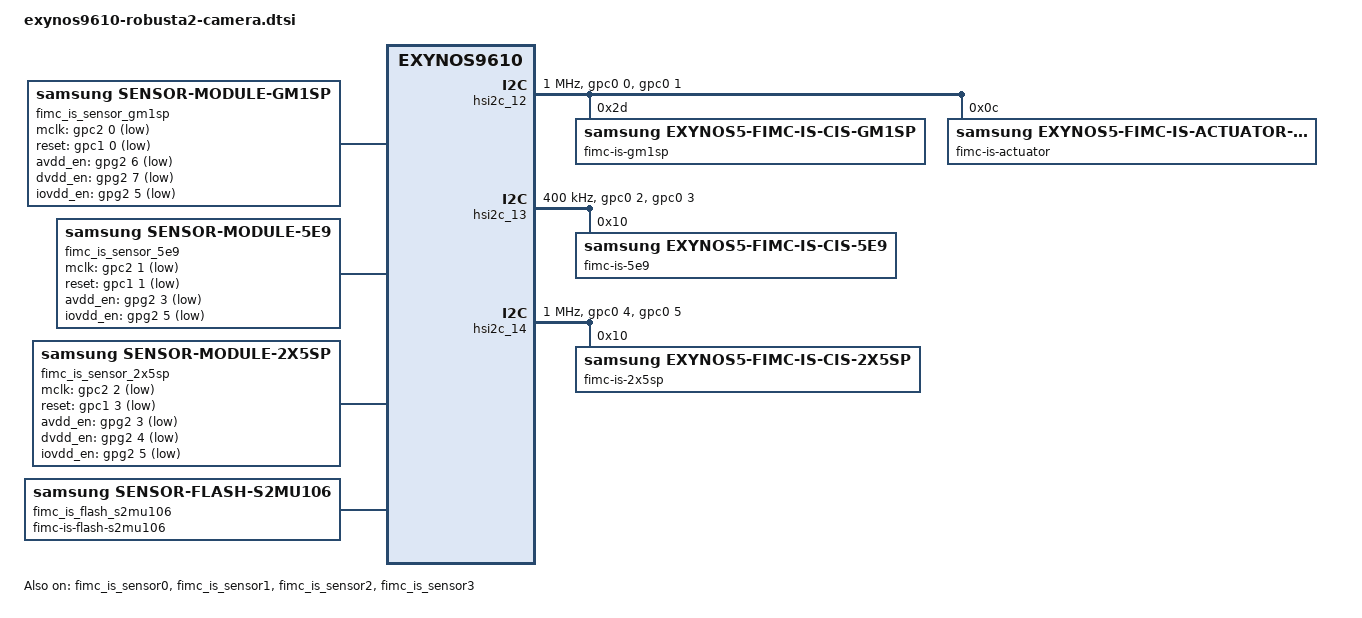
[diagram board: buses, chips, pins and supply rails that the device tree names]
/*
 * SAMSUNG EXYNOS9610 board camera device tree source
 *
 * Copyright (c) 2018 Samsung Electronics Co., Ltd.
 *		http://www.samsung.com
 *
 * This program is free software; you can redistribute it and/or modify
 * it under the terms of the GNU General Public License version 2 as
 * published by the Free Software Foundation.
 */

#include <dt-bindings/camera/fimc_is.h>

/ {
	fragment@camera {
		target-path = "/";
		__overlay__ {
			/* Rear Master */
			fimc_is_sensor_gm1sp: fimc-is_sensor_gm1sp@43 {
				compatible = "samsung,sensor-module-gm1sp";

				pinctrl-names = "pin0", "pin1", "pin2", "release";
				pinctrl-0 = <>;
				pinctrl-1 = <&fimc_is_mclk0_out>;
				pinctrl-2 = <&fimc_is_mclk0_fn>;
				pinctrl-3 = <>;

				position = <0>;	/* Rear:0. Front:1. Rear_sub:2. Secure:3. */
				id = <0>; /* fimc_is_sensor id */
				mclk_ch = <0>;
				sensor_i2c_ch = <0>; /* SENSOR_CONTROL_I2C0 */

				gpio_mclk = <&gpc2 0 0x1>;
				gpio_reset = <&gpc1 0 0x1>; /* sensor reset */

				gpio_avdd_en = <&gpg2 6 0x1>; /* RCAM_MAIN_AVDD_EN */
				gpio_dvdd_en = <&gpg2 7 0x1>; /* RCAM_DVDD_EN */
				gpio_iovdd_en = <&gpg2 5 0x1>; /* CAM_IOVDD_EN */

				status = "okay";

				af {
					product_name = <18>; /* ACTUATOR_NAME_AK737X */
					i2c_ch = <0>; /* SENSOR_CONTROL_I2C0 */
				};

				flash {
					product_name = <14>; /* FLADRV_NAME_S2MU106 */
				};

				ois {
					product_name = <100>; /* NOTHING */
				};

				internal_vc {
					/* DUMMY */
				};
			};

			/* Rear slave */
			fimc_is_sensor_5e9: fimc-is_sensor_5e9@41 {
				compatible = "samsung,sensor-module-5e9";

				pinctrl-names = "pin0", "pin1", "pin2", "release";
				pinctrl-0 = <>;
				pinctrl-1 = <&fimc_is_mclk1_out>;
				pinctrl-2 = <&fimc_is_mclk1_fn>;
				pinctrl-3 = <>;

				position = <2>;	/* Rear:0. Front:1. Rear_sub:2. Secure:3. */
				id = <2>; /* fimc_is_sensor id */
				mclk_ch = <1>;
				sensor_i2c_ch = <1>; /* SENSOR_CONTROL_I2C1 */

				gpio_mclk = <&gpc2 1 0x1>;
				gpio_reset = <&gpc1 1 0x1>; /* sensor reset */

				gpio_avdd_en = <&gpg2 3 0x1>; /* FCAM_AVDD_EN */
				gpio_iovdd_en = <&gpg2 5 0x1>; /* CAM_IOVDD_EN */

				power_seq_idx = <1>; /* power on/off sequence index */
				status = "okay";

				af {
					product_name = <100>; /* NOTHING */
				};

				flash {
					product_name = <100>; /* NOTHING */
				};

				ois {
					product_name = <100>; /* NOTHING */
				};

				internal_vc {
					/* DUMMY */
				};
			};

			/* Front */
			fimc_is_sensor_2x5sp: fimc-is_sensor_2x5sp@42 {
				compatible = "samsung,sensor-module-2x5sp";

				pinctrl-names = "pin0", "pin1", "pin2", "release";
				pinctrl-0 = <>;
				pinctrl-1 = <&fimc_is_mclk2_out>;
				pinctrl-2 = <&fimc_is_mclk2_fn>;
				pinctrl-3 = <>;

				position = <1>;	/* Rear:0. Front:1. Rear_sub:2. Secure:3. */
				id = <1>; /* fimc_is_sensor id */
				mclk_ch = <2>;
				sensor_i2c_ch = <2>; /* SENSOR_CONTROL_I2C2 */

				gpio_mclk = <&gpc2 2 0x1>;
				gpio_reset = <&gpc1 3 0x1>; /* sensor reset */

				gpio_avdd_en = <&gpg2 3 0x1>; /* FCAM_AVDD_EN */
				gpio_dvdd_en = <&gpg2 4 0x1>; /* FCAM_DVDD_EN */
				gpio_iovdd_en = <&gpg2 5 0x1>; /* CAM_IOVDD_EN */

				status = "okay";

				af {
					product_name = <100>; /* NOTHING */
				};

				flash {
					product_name = <100>; /* NOTHING */
				};

				ois {
					product_name = <100>; /* NOTHING */
				};

				internal_vc {
					/* DUMMY */
				};
			};

			fimc_is_flash_s2mu106: fimc-is-flash-s2mu106@14 {
				compatible = "samsung,sensor-flash-s2mu106";
				id = <0>;
				led_ch = <1 2>; /* CH1 ~ CH4, CH0 not exist */
				status = "okay";
			};

		}; /* end of __overlay__ */
	}; /* end of fragment */
}; /* end of root */

/***** reference symbol node *****/

&fimc_is {
	vender {
		rear_sensor_id = <43>; /* 43: GM1SP */
		front_sensor_id = <42>; /* 42: 2X5SP */
		rear2_sensor_id = <41>; /* 41: 5E9  */
	};

	fimc_is_dvfs {
		#define DVFS_INT_CAM_L0 690000
		#define DVFS_INT_CAM_L1 680000
		#define DVFS_INT_CAM_L2 670000
		#define DVFS_INT_CAM_L3 660000
		#define DVFS_INT_CAM_L4 650000

		#define DVFS_INT_L0 667000
		#define DVFS_INT_L1 533000
		#define DVFS_INT_L2 400000
		#define DVFS_INT_L3 200000
		#define DVFS_INT_L4 100000

		#define DVFS_CAM_L0 690000
		#define DVFS_CAM_L1 680000
		#define DVFS_CAM_L2 670000
		#define DVFS_CAM_L3 660000
		#define DVFS_CAM_L4 650000
		#define DVFS_CAM_L5 640000

		#define DVFS_MIF_L0 2093000
		#define DVFS_MIF_L1 2002000
		#define DVFS_MIF_L2 1794000
		#define DVFS_MIF_L3 1539000
		#define DVFS_MIF_L4 1352000
		#define DVFS_MIF_L5 1014000
		#define DVFS_MIF_L6 845000
		#define DVFS_MIF_L7 676000
		#define DVFS_MIF_L8 546000
		#define DVFS_MIF_L9 419000

		table0 {
			desc = "dvfs table v0.0 for 16M/2M";

			default_int_cam = <DVFS_INT_CAM_L0>;
			default_cam = <DVFS_CAM_L0>;
			default_mif = <DVFS_MIF_L0>;
			default_int = <DVFS_INT_L0>;
			default_hpg = <1>;

			front_preview_int_cam = <DVFS_INT_CAM_L0>;
			front_preview_cam = <DVFS_CAM_L0>;
			front_preview_mif = <DVFS_MIF_L0>;
			front_preview_int = <DVFS_INT_L0>;
			front_preview_hpg = <1>;

			front_preview_full_int_cam = <DVFS_INT_CAM_L0>;
			front_preview_full_cam = <DVFS_CAM_L0>;
			front_preview_full_mif = <DVFS_MIF_L0>;
			front_preview_full_int = <DVFS_INT_L0>;
			front_preview_full_hpg = <1>;

			front_capture_int_cam = <DVFS_INT_CAM_L0>;
			front_capture_cam = <DVFS_CAM_L0>;
			front_capture_mif = <DVFS_MIF_L0>;
			front_capture_int = <DVFS_INT_L0>;
			front_capture_hpg = <1>;

			front_video_int_cam = <DVFS_INT_CAM_L0>;
			front_video_cam = <DVFS_CAM_L0>;
			front_video_mif = <DVFS_MIF_L0>;
			front_video_int = <DVFS_INT_L0>;
			front_video_hpg = <1>;

			front_video_capture_int_cam = <DVFS_INT_CAM_L0>;
			front_video_capture_cam = <DVFS_CAM_L0>;
			front_video_capture_mif = <DVFS_MIF_L0>;
			front_video_capture_int = <DVFS_INT_L0>;
			front_video_capture_hpg = <1>;

			front_wide_selfie_int_cam = <DVFS_INT_CAM_L0>;
			front_wide_selfie_cam = <DVFS_CAM_L0>;
			front_wide_selfie_mif = <DVFS_MIF_L0>;
			front_wide_selfie_int = <DVFS_INT_L0>;
			front_wide_selfie_hpg = <1>;

			front_vt1_int_cam = <DVFS_INT_CAM_L0>;
			front_vt1_cam = <DVFS_CAM_L0>;
			front_vt1_mif = <DVFS_MIF_L0>;
			front_vt1_int = <DVFS_INT_L0>;
			front_vt1_hpg = <1>;

			front_vt2_int_cam = <DVFS_INT_CAM_L0>;
			front_vt2_cam = <DVFS_CAM_L0>;
			front_vt2_mif = <DVFS_MIF_L0>;
			front_vt2_int = <DVFS_INT_L0>;
			front_vt2_hpg = <1>;

			front_vt4_int_cam = <DVFS_INT_CAM_L0>;
			front_vt4_cam = <DVFS_CAM_L0>;
			front_vt4_mif = <DVFS_MIF_L0>;
			front_vt4_int = <DVFS_INT_L0>;
			front_vt4_hpg = <1>;

			rear2_preview_fhd_int_cam = <DVFS_INT_CAM_L0>;
			rear2_preview_fhd_cam = <DVFS_CAM_L0>;
			rear2_preview_fhd_mif = <DVFS_MIF_L0>;
			rear2_preview_fhd_int = <DVFS_INT_L0>;
			rear2_preview_fhd_hpg = <1>;

			rear2_capture_int_cam = <DVFS_INT_CAM_L0>;
			rear2_capture_cam = <DVFS_CAM_L0>;
			rear2_capture_mif = <DVFS_MIF_L0>;
			rear2_capture_int = <DVFS_INT_L0>;
			rear2_capture_hpg = <1>;

			rear2_video_fhd_int_cam = <DVFS_INT_CAM_L0>;
			rear2_video_fhd_cam = <DVFS_CAM_L0>;
			rear2_video_fhd_mif = <DVFS_MIF_L0>;
			rear2_video_fhd_int = <DVFS_INT_L0>;
			rear2_video_fhd_hpg = <1>;

			rear2_video_fhd_capture_int_cam = <DVFS_INT_CAM_L0>;
			rear2_video_fhd_capture_cam = <DVFS_CAM_L0>;
			rear2_video_fhd_capture_mif = <DVFS_MIF_L0>;
			rear2_video_fhd_capture_int = <DVFS_INT_L0>;
			rear2_video_fhd_capture_hpg = <1>;

			rear_preview_fhd_int_cam = <DVFS_INT_CAM_L0>;
			rear_preview_fhd_cam = <DVFS_CAM_L0>;
			rear_preview_fhd_mif = <DVFS_MIF_L0>;
			rear_preview_fhd_int = <DVFS_INT_L0>;
			rear_preview_fhd_hpg = <1>;

			rear_preview_hd_int_cam = <DVFS_INT_CAM_L0>;
			rear_preview_hd_cam = <DVFS_CAM_L0>;
			rear_preview_hd_mif = <DVFS_MIF_L0>;
			rear_preview_hd_int = <DVFS_INT_L0>;
			rear_preview_hd_hpg = <1>;

			rear_preview_uhd_int_cam = <DVFS_INT_CAM_L0>;
			rear_preview_uhd_cam = <DVFS_CAM_L0>;
			rear_preview_uhd_mif = <DVFS_MIF_L0>;
			rear_preview_uhd_int = <DVFS_INT_L0>;
			rear_preview_uhd_hpg = <1>;

			rear_preview_full_int_cam = <DVFS_INT_CAM_L0>;
			rear_preview_full_cam = <DVFS_CAM_L0>;
			rear_preview_full_mif = <DVFS_MIF_L0>;
			rear_preview_full_int = <DVFS_INT_L0>;
			rear_preview_full_hpg = <1>;

			rear_capture_int_cam = <DVFS_INT_CAM_L0>;
			rear_capture_cam = <DVFS_CAM_L0>;
			rear_capture_mif = <DVFS_MIF_L0>;
			rear_capture_int = <DVFS_INT_L0>;
			rear_capture_hpg = <1>;

			rear_video_fhd_int_cam = <DVFS_INT_CAM_L0>;
			rear_video_fhd_cam = <DVFS_CAM_L0>;
			rear_video_fhd_mif = <DVFS_MIF_L0>;
			rear_video_fhd_int = <DVFS_INT_L0>;
			rear_video_fhd_hpg = <1>;

			rear_video_hd_int_cam = <DVFS_INT_CAM_L0>;
			rear_video_hd_cam = <DVFS_CAM_L0>;
			rear_video_hd_mif = <DVFS_MIF_L0>;
			rear_video_hd_int = <DVFS_INT_L0>;
			rear_video_hd_hpg = <1>;

			rear_video_uhd_int_cam = <DVFS_INT_CAM_L0>;
			rear_video_uhd_cam = <DVFS_CAM_L0>;
			rear_video_uhd_mif = <DVFS_MIF_L0>;
			rear_video_uhd_int = <DVFS_INT_L0>;
			rear_video_uhd_hpg = <1>;

			rear_video_fhd_capture_int_cam = <DVFS_INT_CAM_L0>;
			rear_video_fhd_capture_cam = <DVFS_CAM_L0>;
			rear_video_fhd_capture_mif = <DVFS_MIF_L0>;
			rear_video_fhd_capture_int = <DVFS_INT_L0>;
			rear_video_fhd_capture_hpg = <1>;

			rear_video_hd_capture_int_cam = <DVFS_INT_CAM_L0>;
			rear_video_hd_capture_cam = <DVFS_CAM_L0>;
			rear_video_hd_capture_mif = <DVFS_MIF_L0>;
			rear_video_hd_capture_int = <DVFS_INT_L0>;
			rear_video_hd_capture_hpg = <1>;

			rear_video_uhd_capture_int_cam = <DVFS_INT_CAM_L0>;
			rear_video_uhd_capture_cam = <DVFS_CAM_L0>;
			rear_video_uhd_capture_mif = <DVFS_MIF_L0>;
			rear_video_uhd_capture_int = <DVFS_INT_L0>;
			rear_video_uhd_capture_hpg = <1>;

			dual_preview_int_cam = <DVFS_INT_CAM_L0>;
			dual_preview_cam = <DVFS_CAM_L0>;
			dual_preview_mif = <DVFS_MIF_L0>;
			dual_preview_int = <DVFS_INT_L0>;
			dual_preview_hpg = <1>;

			dual_capture_int_cam = <DVFS_INT_CAM_L0>;
			dual_capture_cam = <DVFS_CAM_L0>;
			dual_capture_mif = <DVFS_MIF_L0>;
			dual_capture_int = <DVFS_INT_L0>;
			dual_capture_hpg = <1>;

			dual_video_fhd_int_cam = <DVFS_INT_CAM_L0>;
			dual_video_fhd_cam = <DVFS_CAM_L0>;
			dual_video_fhd_mif = <DVFS_MIF_L0>;
			dual_video_fhd_int = <DVFS_INT_L0>;
			dual_video_fhd_hpg = <1>;

			dual_video_fhd_capture_int_cam = <DVFS_INT_CAM_L0>;
			dual_video_fhd_capture_cam = <DVFS_CAM_L0>;
			dual_video_fhd_capture_mif = <DVFS_MIF_L0>;
			dual_video_fhd_capture_int = <DVFS_INT_L0>;
			dual_video_fhd_capture_hpg = <1>;

			dual_video_uhd_int_cam = <DVFS_INT_CAM_L0>;
			dual_video_uhd_cam = <DVFS_CAM_L0>;
			dual_video_uhd_mif = <DVFS_MIF_L0>;
			dual_video_uhd_int = <DVFS_INT_L0>;
			dual_video_uhd_hpg = <1>;

			dual_video_uhd_capture_int_cam = <DVFS_INT_CAM_L0>;
			dual_video_uhd_capture_cam = <DVFS_CAM_L0>;
			dual_video_uhd_capture_mif = <DVFS_MIF_L0>;
			dual_video_uhd_capture_int = <DVFS_INT_L0>;
			dual_video_uhd_capture_hpg = <1>;

			dual_sync_preview_int_cam = <DVFS_INT_CAM_L0>;
			dual_sync_preview_cam = <DVFS_CAM_L0>;
			dual_sync_preview_mif = <DVFS_MIF_L0>;
			dual_sync_preview_int = <DVFS_INT_L0>;
			dual_sync_preview_hpg = <1>;

			dual_sync_capture_int_cam = <DVFS_INT_CAM_L0>;
			dual_sync_capture_cam = <DVFS_CAM_L0>;
			dual_sync_capture_mif = <DVFS_MIF_L0>;
			dual_sync_capture_int = <DVFS_INT_L0>;
			dual_sync_capture_hpg = <1>;

			dual_sync_preview_whd_int_cam = <DVFS_INT_CAM_L0>;
			dual_sync_preview_whd_cam = <DVFS_CAM_L0>;
			dual_sync_preview_whd_mif = <DVFS_MIF_L0>;
			dual_sync_preview_whd_int = <DVFS_INT_L0>;
			dual_sync_preview_whd_hpg = <1>;

			dual_sync_whd_capture_int_cam = <DVFS_INT_CAM_L0>;
			dual_sync_whd_capture_cam = <DVFS_CAM_L0>;
			dual_sync_whd_capture_mif = <DVFS_MIF_L0>;
			dual_sync_whd_capture_int = <DVFS_INT_L0>;
			dual_sync_whd_capture_hpg = <1>;

			dual_sync_video_fhd_int_cam = <DVFS_INT_CAM_L0>;
			dual_sync_video_fhd_cam = <DVFS_CAM_L0>;
			dual_sync_video_fhd_mif = <DVFS_MIF_L0>;
			dual_sync_video_fhd_int = <DVFS_INT_L0>;
			dual_sync_video_fhd_hpg = <1>;

			dual_sync_video_fhd_capture_int_cam = <DVFS_INT_CAM_L0>;
			dual_sync_video_fhd_capture_cam = <DVFS_CAM_L0>;
			dual_sync_video_fhd_capture_mif = <DVFS_MIF_L0>;
			dual_sync_video_fhd_capture_int = <DVFS_INT_L0>;
			dual_sync_video_fhd_capture_hpg = <1>;

			dual_sync_video_uhd_int_cam = <DVFS_INT_CAM_L0>;
			dual_sync_video_uhd_cam = <DVFS_CAM_L0>;
			dual_sync_video_uhd_mif = <DVFS_MIF_L0>;
			dual_sync_video_uhd_int = <DVFS_INT_L0>;
			dual_sync_video_uhd_hpg = <1>;

			dual_sync_video_uhd_capture_int_cam = <DVFS_INT_CAM_L0>;
			dual_sync_video_uhd_capture_cam = <DVFS_CAM_L0>;
			dual_sync_video_uhd_capture_mif = <DVFS_MIF_L0>;
			dual_sync_video_uhd_capture_int = <DVFS_INT_L0>;
			dual_sync_video_uhd_capture_hpg = <1>;

			pip_preview_int_cam = <DVFS_INT_CAM_L0>;
			pip_preview_cam = <DVFS_CAM_L0>;
			pip_preview_mif = <DVFS_MIF_L0>;
			pip_preview_int = <DVFS_INT_L0>;
			pip_preview_hpg = <1>;

			pip_capture_int_cam = <DVFS_INT_CAM_L0>;
			pip_capture_cam = <DVFS_CAM_L0>;
			pip_capture_mif = <DVFS_MIF_L0>;
			pip_capture_int = <DVFS_INT_L0>;
			pip_capture_hpg = <1>;

			secure_front_int_cam = <DVFS_INT_CAM_L0>;
			secure_front_cam = <DVFS_CAM_L0>;
			secure_front_mif = <DVFS_MIF_L0>;
			secure_front_int = <DVFS_INT_L0>;
			secure_front_hpg = <1>;

			preview_high_speed_fps_int_cam = <DVFS_INT_CAM_L0>;
			preview_high_speed_fps_cam = <DVFS_CAM_L0>;
			preview_high_speed_fps_mif = <DVFS_MIF_L0>;
			preview_high_speed_fps_int = <DVFS_INT_L0>;
			preview_high_speed_fps_hpg = <1>;

			video_high_speed_60fps_int_cam = <DVFS_INT_CAM_L0>;
			video_high_speed_60fps_cam = <DVFS_CAM_L0>;
			video_high_speed_60fps_mif = <DVFS_MIF_L0>;
			video_high_speed_60fps_int = <DVFS_INT_L0>;
			video_high_speed_60fps_hpg = <1>;

			video_high_speed_120fps_int_cam = <DVFS_INT_CAM_L0>;
			video_high_speed_120fps_cam = <DVFS_CAM_L0>;
			video_high_speed_120fps_mif = <DVFS_MIF_L0>;
			video_high_speed_120fps_int = <DVFS_INT_L0>;
			video_high_speed_120fps_hpg = <1>;

			video_high_speed_480fps_int_cam = <DVFS_INT_CAM_L0>;
			video_high_speed_480fps_cam = <DVFS_CAM_L0>;
			video_high_speed_480fps_mif = <DVFS_MIF_L0>;
			video_high_speed_480fps_int = <DVFS_INT_L0>;
			video_high_speed_480fps_hpg = <1>;

			video_high_speed_60fps_capture_int_cam = <DVFS_INT_CAM_L0>;
			video_high_speed_60fps_capture_cam = <DVFS_CAM_L0>;
			video_high_speed_60fps_capture_mif = <DVFS_MIF_L0>;
			video_high_speed_60fps_capture_int = <DVFS_INT_L0>;
			video_high_speed_60fps_capture_hpg = <1>;

			ext_front_int_cam = <DVFS_INT_CAM_L0>;
			ext_front_cam = <DVFS_CAM_L0>;
			ext_front_mif = <DVFS_MIF_L0>;
			ext_front_int = <DVFS_INT_L0>;
			ext_front_hpg = <1>;

			ext_secure_int_cam = <DVFS_INT_CAM_L0>;
			ext_secure_cam = <DVFS_CAM_L0>;
			ext_secure_mif = <DVFS_MIF_L0>;
			ext_secure_int = <DVFS_INT_L0>;
			ext_secure_hpg = <1>;

			max_int_cam = <DVFS_INT_CAM_L0>;
			max_cam = <DVFS_CAM_L0>;
			max_mif = <DVFS_MIF_L0>;
			max_int = <DVFS_INT_L0>;
			max_hpg = <1>;
		};
	};
};

/* I2C_CAM0 */ /* SENSOR_CONTROL_I2C0 */
&hsi2c_12 {
	gpios = <&gpc0 0 0 &gpc0 1 0>;
	status = "okay";
	clock-frequency = <1000000>;
	samsung,reset-before-trans;

	#address-cells = <1>;
	#size-cells = <0>;

	fimc-is-gm1sp@2d {
		compatible = "samsung,exynos5-fimc-is-cis-gm1sp";
		reg = <0x2d>; /* TODO: need to check */
		id = <0>; /* matching fimc_is_sensor id */
		setfile = "setA";
		use_initial_ae; /* for initial AE */
	};

	fimc-is-actuator@72 {
		compatible = "samsung,exynos5-fimc-is-actuator-ak737x";
		reg = <0x0C>; /* TODO: need to check */
		id = <0>; /* matching fimc_is_sensor id */
		place = <0>;
	};
};

/* I2C_CAM1 */ /* SENSOR_CONTROL_I2C1 */
&hsi2c_13 {
	gpios = <&gpc0 2 0 &gpc0 3 0>;
	status = "okay";
	clock-frequency = <400000>;
	samsung,reset-before-trans;

	#address-cells = <1>;
	#size-cells = <0>;

	fimc-is-5e9@10 {
		compatible = "samsung,exynos5-fimc-is-cis-5e9";
		reg = <0x10>; /* 1 bit right shift */
		id = <2>; /* matching fimc_is_sensor id */
		setfile = "setA";
		use_initial_ae; /* for initial AE */
	};
};

/* I2C_CAM2 */ /* SENSOR_CONTROL_I2C2 */
&hsi2c_14 {
	gpios = <&gpc0 4 0 &gpc0 5 0>;
	status = "okay";
	clock-frequency = <1000000>;
	samsung,reset-before-trans;

	#address-cells = <1>;
	#size-cells = <0>;

	fimc-is-2x5sp@10 {
		compatible = "samsung,exynos5-fimc-is-cis-2x5sp";
		reg = <0x10>; /* 1 bit right shift */
		id = <1>; /* matching fimc_is_sensor id */
		setfile = "setA";
		use_initial_ae; /* for initial AE */
	};
};

&fimc_is_sensor0 {
	scenario = <SENSOR_SCENARIO_NORMAL>;	/* Normal, Vision, OIS etc */
	id = <0>;
	csi_ch = <0>;
	dma_ch = <0 0 0 0 0 1 1 1>;
	vc_ch = <0 1 2 3 0 1 2 3>;
	flite_ch = <FLITE_ID_NOTHING>;
	is_bns = <0>;
	csi_mux = <0>;  /* CSIS_DPHY[2:0] = [0 0 0] */
	/* use_ssvc1_internal; */
	/* use_ssvc2_internal; */
	status = "okay";
};

&fimc_is_sensor1 {
	scenario = <SENSOR_SCENARIO_NORMAL>;	/* Normal, Vision, OIS etc */
	id = <1>;
	csi_ch = <1>;
	dma_ch = <1 1 1 1 1 1 1 1>;
	vc_ch = <0 1 2 3 0 1 2 3>;
	flite_ch = <FLITE_ID_NOTHING>;
	is_bns = <0>;
	csi_mux = <0>;  /* CSIS_DPHY[2:0] = [0 0 0] */
	status = "okay";
};

&fimc_is_sensor2 {
	scenario = <SENSOR_SCENARIO_NORMAL>;	/* Normal, Vision, OIS etc */
	id = <2>;
	csi_ch = <2>;
	dma_ch = <2 2 2 2>;
	vc_ch = <0 1 2 3>;
	flite_ch = <FLITE_ID_NOTHING>;
	is_bns = <0>;
	csi_mux = <0>;  /* CSIS_DPHY[2:0] = [0 0 0] */
	status = "okay";
};

&fimc_is_sensor3 {
	scenario = <SENSOR_SCENARIO_SECURE>;	/* Normal, Vision, OIS etc */
	id = <3>;
	csi_ch = <3>;
	dma_ch = <3 3 3 3>;
	vc_ch = <0 1 2 3>;
	flite_ch = <FLITE_ID_NOTHING>;
	is_bns = <0>;
	csi_mux = <0>;  /* CSIS_DPHY[2:0] = [0 0 0] */
	status = "okay";
};
